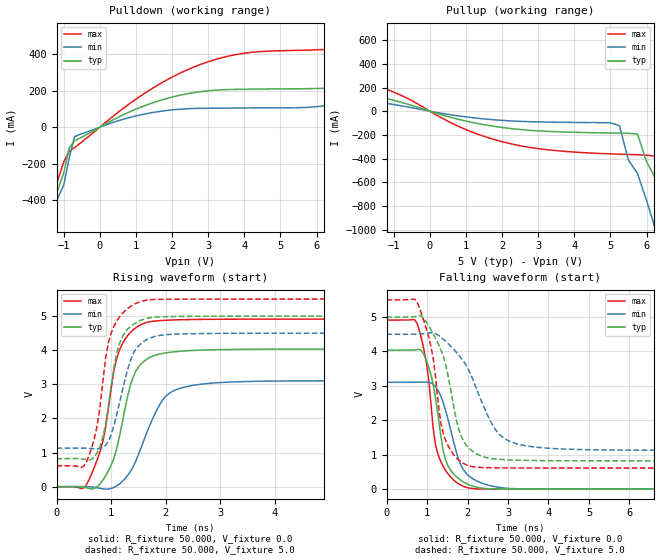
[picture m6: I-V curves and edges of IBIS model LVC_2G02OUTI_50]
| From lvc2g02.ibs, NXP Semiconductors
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|   Model LVC_2G02OUTI_50
[Model]   LVC_2G02OUTI_50
Model_type   Output
Polarity   Inverting
Vmeas =  2.5V
Cref  =  50.0pF
Rref  =  0.5k
Vref  =  0.0V
C_comp   3.26pF   2.07pF   4.36pF
[Model Spec]
| Note: The input and output voltage ratings may be exceeded if the input and
|   output current ratings are observed (please refer to the data sheet)
|   Subparameter   typ   min   max
| Timing Thresholds
Vmeas   2.5   2.25   2.75
|Ambient temperature:   25   85   -40
[Temperature Range]   50   105   -10
[Voltage Range]   5.0V   4.5V   5.5V
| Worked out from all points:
|   slope of the pulldown table from 0 to 0.75 V, typ, clamps not added: 9.74 ohm
|   slope of the pullup table from 0 to 0.75 V, typ, clamps not added: 11.5 ohm
|   rising waveform, R_fixture 50.000, V_fixture 0.0: 20-80 % time 364ps typ, 508ps min, 352ps max; typ from 0 V to 4.04 V
|   rising waveform, R_fixture 50.000, V_fixture 5.0: 20-80 % time 271ps typ, 332ps min, 289ps max; typ from 0.823 V to 5 V
|   falling waveform, R_fixture 50.000, V_fixture 0.0: 20-80 % time 358ps typ, 462ps min, 338ps max; typ from 4.04 V to 0 V
|   falling waveform, R_fixture 50.000, V_fixture 5.0: 20-80 % time 509ps typ, 817ps min, 393ps max; typ from 5 V to 0.823 V
|Process Range   nominal   slow   fast
[Pulldown]
| voltage   I(typ)   I(min)   I(max)
-5.5V     -4.563A    -4.594A    -4.526A
-1.6V     -693.4mA   -732.2mA   -647.2mA
-1.45V    -551mA     -590.1mA   -504.6mA
-1.3V     -415mA     -454.6mA   -369mA
-1V       -251.4mA   -318mA     -191.1mA
-850mV    -114.6mA   -169.1mA   -132.4mA
-700mV    -75.07mA   -52.23mA   -112.3mA
1.25V     118.3mA    72.36mA    187mA
3V        199.6mA    103.9mA    358.9mA
6.5V      219.2mA    124.2mA    428.1mA
8.5V      324.6mA    195.7mA    566mA
11V       504.2mA    312.6mA    850.5mA
[Pullup]
| voltage   I(typ)   I(min)   I(max)
-6.5V     443.9mA    295.5mA    709.4mA
-2.6V     214.2mA    136.3mA    356.2mA
1.75V     -126.6mA   -72.01mA   -236.6mA
5V        -184mA     -97.72mA   -360.5mA
5.25V     -185.2mA   -121.8mA   -363.2mA
5.5V      -186.8mA   -414.1mA   -365.7mA
5.75V     -193.4mA   -525.3mA   -368mA
6.25V     -569.8mA   -1.001A    -380.6mA
6.75V     -1.057A    -1.508A    -690.7mA
7V        -1.315A    -1.764A    -933.4mA
7.25V     -1.575A    -2.021A    -1.195A
11V       -5.528A    -5.908A    -5.261A
[Ramp]
| variable   typ   min   max
dV/dt_r   2.423V/363.669ps   1.862V/507.696ps   2.948V/351.848ps
dV/dt_f   2.506V/509.027ps   2.022V/816.624ps   2.932V/393.261ps
R_load = 50.000
[Rising Waveform]
R_fixture   = 50.000
V_fixture   = 0.0
V_fixture_min = 0.0
V_fixture_max = 0.0
| time   V(typ)   V(min)   V(max)
0s        266.9pV    3.273nV    21.63pV
500ps     -14.38mV   2.147mV    -34.66mV
850ps     193mV      -64.01mV   1.33V
1.05ns    824.3mV    -22.83mV   3.381V
1.15ns    1.441V     74.18mV    3.985V
1.4ns     3.195V     569mV      4.591V
1.65ns    3.731V     1.563V     4.813V
2ns       3.92V      2.645V     4.878V
2.65ns    4.003V     3.004V     4.904V
9.75ns    4.038V     3.104V     4.913V
[Rising Waveform]
R_fixture   = 50.000
V_fixture   = 5.0
V_fixture_min = 4.5
V_fixture_max = 5.5
| time   V(typ)   V(min)   V(max)
0s        823mV      1.13V      612.8mV
500ps     807.7mV    1.131V     603.6mV
750ps     1.008V     1.11V      1.83V
900ps     1.843V     1.212V     3.769V
1ns       2.92V      1.516V     4.495V
1.2ns     4.372V     2.767V     5.066V
1.35ns    4.685V     3.68V      5.275V
1.55ns    4.881V     4.196V     5.431V
2.45ns    4.993V     4.484V     5.497V
9.75ns    5V         4.5V       5.5V
[Falling Waveform]
R_fixture   = 50.000
V_fixture   = 0.0
V_fixture_min = 0.0
V_fixture_max = 0.0
| time   V(typ)   V(min)   V(max)
0s        4.038V     3.104V     4.913V
750ps     4.054V     3.108V     4.824V
1ns       3.693V     3.11V      3.556V
1.15ns    3.059V     3.048V     1.783V
1.25ns    2.337V     2.911V     1.096V
1.45ns    881.8mV    2.323V     562.4mV
1.75ns    333.2mV    971.6mV    177.6mV
1.9ns     208.6mV    560.7mV    81.53mV
3ns       3.757mV    23.16mV    824.7uV
9.75ns    -11.19uV   -76.02uV   -129.2nV
[Falling Waveform]
R_fixture   = 50.000
V_fixture   = 5.0
V_fixture_min = 4.5
V_fixture_max = 5.5
| time   V(typ)   V(min)   V(max)
0s        5V         4.5V       5.5V
750ps     5.028V     4.504V     5.444V
1.1ns     4.628V     4.546V     4.131V
1.3ns     4.163V     4.455V     2.263V
1.4ns     3.863V     4.361V     1.623V
1.75ns    1.888V     3.944V     883.5mV
1.95ns    1.31V      3.631V     717.8mV
2.65ns    880.1mV    1.802V     621.1mV
3.2ns     842.9mV    1.322V     615.2mV
9.75ns    823.1mV    1.131V     612.8mV
